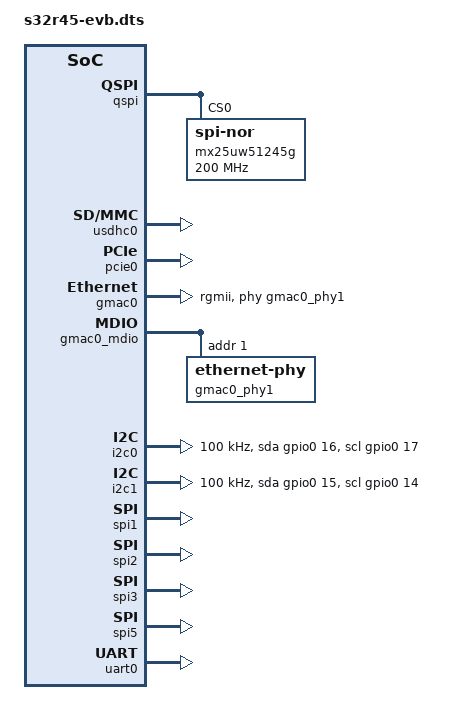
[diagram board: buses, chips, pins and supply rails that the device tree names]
// SPDX-License-Identifier: GPL-2.0+
/*
 * Copyright 2017-2022 NXP
 *
 * This program is free software; you can redistribute it and/or modify
 * it under the terms of the GNU General Public License as published by
 * the Free Software Foundation; either version 2 of the License, or
 * (at your option) any later version.
 */
#include <dt-bindings/clock/s32r45-scmi-clock.h>
#include <dt-bindings/gpio/gpio.h>
#include <dt-bindings/nvmem/s32cc-siul2-nvmem.h>
#include <dt-bindings/pinctrl/s32r45-pinctrl.h>

/dts-v1/;
#include "s32r45.dtsi"

&qspi {
	compatible = "nxp,s32r45-qspi", "nxp,s32cc-qspi";
	pinctrl-0 = <&pinctrl0_qspi>;
	pinctrl-names = "default";
	status = "okay";

	mx25uw51245g@0 {
		#address-cells = <1>;
		#size-cells = <1>;
		compatible = "jedec,spi-nor";
		spi-max-frequency = <200000000>;
		spi-tx-bus-width = <8>;
		spi-rx-bus-width = <8>;
		reg = <0>;
	};
};

&cmu {
	compatible = "nxp,s32r45-cmu";
};

&usdhc0 {
	pinctrl-0 = <&pinctrl0_sd0>;
	pinctrl-names = "default";
	no-1-8-v;
	status = "okay";
};

&pcie0 {
	status = "okay";

	link-speed = <3>; /* Gen3 */
};

&gmac0 {
	clocks = <&clks S32GEN1_SCMI_CLK_GMAC0_TS>,
		 <&clks S32GEN1_SCMI_CLK_GMAC0_RX_SGMII>,
		 <&clks S32GEN1_SCMI_CLK_GMAC0_TX_SGMII>,
		 <&clks S32GEN1_SCMI_CLK_GMAC0_RX_RGMII>,
		 <&clks S32GEN1_SCMI_CLK_GMAC0_TX_RGMII>,
		 <&clks S32GEN1_SCMI_CLK_GMAC0_AXI>;
	clock-names = "ts", "rx_sgmii", "tx_sgmii",
		      "rx_rgmii", "tx_rgmii", "axi";
	pinctrl-0 = <&pinctrl0_gmac0 &pinctrl0_gmac0_mdio>;
	pinctrl-1 = <&pinctrl0_gmac0_mdio>;
	pinctrl-names = "gmac_rgmii", "gmac_sgmii";
	status = "okay";
	phy-mode = "rgmii";
	phy-handle = <&gmac0_phy1>;
};

&gmac0_mdio {
	#address-cells = <1>;
	#size-cells = <0>;
	/* KSZ9031RNXCA on S32R-VNP-PROC */
	gmac0_phy1: ethernet-phy@1 {
		reg = <1>;
	};
};

/* J36 - PMIC */
&i2c0 {
	clock-frequency=<100000>;
	pinctrl-names = "default", "gpio";
	pinctrl-0 = <&pinctrl0_i2c0>;
	pinctrl-1 = <&pinctrl0_i2c0_gpio>;
	scl-gpios = <&gpio0 17 (GPIO_ACTIVE_HIGH | GPIO_OPEN_DRAIN)>;
	sda-gpios = <&gpio0 16 (GPIO_ACTIVE_HIGH | GPIO_OPEN_DRAIN)>;
	status = "okay";
};

/* J37 */
&i2c1 {
	clock-frequency=<100000>;
	pinctrl-names = "default", "gpio";
	pinctrl-0 = <&pinctrl0_i2c1 &pinctrl1_i2c1>;
	pinctrl-1 = <&pinctrl0_i2c1_gpio &pinctrl1_i2c1_gpio>;
	scl-gpios = <&gpio0 14 (GPIO_ACTIVE_HIGH | GPIO_OPEN_DRAIN)>;
	sda-gpios = <&gpio0 15 (GPIO_ACTIVE_HIGH | GPIO_OPEN_DRAIN)>;
	status = "okay";
};

&pinctrl0 {
	board_pinctrl0 {
		u-boot,dm-pre-reloc;
		pinctrl0_dspi1: pinctrl0_dspi1 {
			fsl,pins = <PB04_MSCR_S32R45 PB04_SPI1_SCK_CFG
				    PB05_MSCR_S32R45 PB05_SPI1_SIN_CFG
				    PB06_MSCR_S32R45 PB06_SPI1_SOUT_CFG
				    PB07_MSCR_S32R45 PB07_SPI1_CS0_CFG
				    PB08_MSCR_S32R45 PB08_SPI1_CS1_CFG
				    >;
		};

		pinctrl0_dspi2: pinctrl0_dspi2 {
			fsl,pins = <PB11_MSCR_S32R45 PB11_SPI2_SCK_CFG
				    PB13_MSCR_S32R45 PB13_SPI2_SOUT_CFG
				    PB14_MSCR_S32R45 PB14_SPI2_CS0_CFG
				    PB15_MSCR_S32R45 PB15_SPI2_CS1_CFG
				    PC01_MSCR_S32R45 PC01_SPI2_SIN_CFG
				    >;
		};

		pinctrl0_dspi3: pinctrl0_dspi3 {
			fsl,pins = <PC04_MSCR_S32R45 PC04_SPI3_SCK_CFG
				    PC06_MSCR_S32R45 PC06_SPI3_SIN_CFG
				    PC07_MSCR_S32R45 PC07_SPI3_CS0_CFG
				    PC08_MSCR_S32R45 PC08_SPI3_CS1_CFG
				    PC13_MSCR_S32R45 PC13_SPI3_SOUT_CFG
				    >;
		};

		pinctrl0_gmac0_mdio: pinctrl0_gmac0_mdio {
			fsl,pins = <PD12_MSCR_S32R45 PD12_GMAC0_MDC_CFG
				    PD13_MSCR_S32R45 PD13_GMAC0_MDIO_CFG
				    GMAC0_MDIO_IMCR PD13_GMAC0_MDIO_IN
				    >;
		};

		pinctrl0_gmac0: pinctrl0_gmac0 {
			fsl,pins = <PE02_MSCR_S32R45 PE02_GMAC0_TX_CLK_CFG
				    PE03_MSCR_S32R45 PE03_GMAC0_TX_EN_CFG
				    PE04_MSCR_S32R45 PE04_GMAC0_TX_D0_CFG
				    PE05_MSCR_S32R45 PE05_GMAC0_TX_D1_CFG
				    PE06_MSCR_S32R45 PE06_GMAC0_TX_D2_CFG
				    PE07_MSCR_S32R45 PE07_GMAC0_TX_D3_CFG
				    PE08_MSCR_S32R45 PE08_GMAC0_RX_CLK_CFG
				    PE09_MSCR_S32R45 PE09_GMAC0_RX_DV_CFG
				    PE10_MSCR_S32R45 PE10_GMAC0_RX_D0_CFG
				    PE11_MSCR_S32R45 PE11_GMAC0_RX_D1_CFG
				    PE12_MSCR_S32R45 PE12_GMAC0_RX_D2_CFG
				    PE13_MSCR_S32R45 PE13_GMAC0_RX_D3_CFG
				    GMAC0_TX_CLK_IMCR PE02_GMAC0_TX_CLK_IN
				    GMAC0_RX_CLK_IMCR PE08_GMAC0_RX_CLK_IN
				    GMAC0_RX_DV_IMCR PE09_GMAC0_RX_DV_IN
				    GMAC0_RX_D0_IMCR PE10_GMAC0_RX_D0_IN
				    GMAC0_RX_D1_IMCR PE11_GMAC0_RX_D1_IN
				    GMAC0_RX_D2_IMCR PE12_GMAC0_RX_D2_IN
				    GMAC0_RX_D3_IMCR PE13_GMAC0_RX_D3_IN
				    >;
		};

		pinctrl0_i2c0: pinctrl0_i2c0 {
			fsl,pins = <PB00_MSCR_S32R45 PB00_I2C0_SDA_CFG
				    PB01_MSCR_S32R45 PB01_I2C0_SCL_CFG
				    I2C0_SDA_IMCR PB00_I2C0_SDA_IN
				    I2C0_SCL_IMCR PB01_I2C0_SCL_IN
				    >;
		};

		pinctrl0_i2c0_gpio: pinctrl0_i2c0_gpio {
			fsl,pins = <PB00_MSCR_S32R45 PB00_I2C0_SDA_GPIO
				    PB01_MSCR_S32R45 PB01_I2C0_SCL_GPIO
				    I2C0_SDA_IMCR IMCR_DISABLED
				    I2C0_SCL_IMCR IMCR_DISABLED
				    >;
		};

		pinctrl0_i2c1: pinctrl0_i2c1 {
			fsl,pins = <PA14_MSCR_S32R45 PA14_I2C1_SCL_CFG
				    PA15_MSCR_S32R45 PA15_I2C1_SDA_CFG
				    >;
		};

		pinctrl0_i2c1_gpio: pinctrl0_i2c1_gpio {
			fsl,pins = <PA14_MSCR_S32R45 PA14_I2C1_SCL_GPIO
				    PA15_MSCR_S32R45 PA15_I2C1_SDA_GPIO
				    >;
		};

		pinctrl0_qspi: pinctrl0_qspi {
			fsl,pins = <PF05_MSCR_S32R45 PF05_QSPI_DATA_A0_CFG
				    PF06_MSCR_S32R45 PF06_QSPI_DATA_A1_CFG
				    PF07_MSCR_S32R45 PF07_QSPI_DATA_A2_CFG
				    PF08_MSCR_S32R45 PF08_QSPI_DATA_A3_CFG
				    PF09_MSCR_S32R45 PF09_QSPI_DATA_A4_CFG
				    PF10_MSCR_S32R45 PF10_QSPI_DATA_A5_CFG
				    PF11_MSCR_S32R45 PF11_QSPI_DATA_A6_CFG
				    PF12_MSCR_S32R45 PF12_QSPI_DATA_A7_CFG
				    PF13_MSCR_S32R45 PF13_QSPI_DQS_A_CFG
				    PG00_MSCR_S32R45 PG00_QSPI_CLK_A_CFG
				    PG01_MSCR_S32R45 PG01_QSPI_CLK_A_b_CFG
				    PG02_MSCR_S32R45 PG02_QSPI_CLK_2A_CFG
				    PG03_MSCR_S32R45 PG03_QSPI_CLK_2A_b_CFG
				    PG04_MSCR_S32R45 PG04_QSPI_CS_A0
				    PG05_MSCR_S32R45 PG05_QSPI_CS_A1
				    QSPI_DATA0_A_IMCR PF05_QSPI_DATA_A0_IN
				    QSPI_DATA1_A_IMCR PF06_QSPI_DATA_A1_IN
				    QSPI_DATA2_A_IMCR PF07_QSPI_DATA_A2_IN
				    QSPI_DATA3_A_IMCR PF08_QSPI_DATA_A3_IN
				    QSPI_DATA4_A_IMCR PF09_QSPI_DATA_A4_IN
				    QSPI_DATA5_A_IMCR PF10_QSPI_DATA_A5_IN
				    QSPI_DATA6_A_IMCR PF11_QSPI_DATA_A6_IN
				    QSPI_DATA7_A_IMCR PF12_QSPI_DATA_A7_IN
				    QSPI_DQS_A_IMCR PF13_DQS_A_IN
				    >;
		};

		pinctrl0_sd0: pinctrl0_sd0 {
			fsl,pins = <PC14_MSCR_S32R45 PC14_SD0_CLK_CFG
				    PC15_MSCR_S32R45 PC15_SD0_CMD_CFG
				    PD00_MSCR_S32R45 PD00_SD0_D0_CFG
				    PD01_MSCR_S32R45 PD01_SD0_D1_CFG
				    PD02_MSCR_S32R45 PD02_SD0_D2_CFG
				    PD03_MSCR_S32R45 PD03_SD0_D3_CFG
				    PD04_MSCR_S32R45 PD04_SD0_D4_CFG
				    PD05_MSCR_S32R45 PD05_SD0_D5_CFG
				    PD06_MSCR_S32R45 PD06_SD0_D6_CFG
				    PD07_MSCR_S32R45 PD07_SD0_D7_CFG
				    PD08_MSCR_S32R45 PD08_SD0_RST_CFG
				    PD09_MSCR_S32R45 PD09_SD0_VSELECT_CFG
				    SD0_CMD_IMCR PC15_SD0_CMD_IN
				    SD0_D0_IMCR PD00_SD0_D0_IN
				    SD0_D1_IMCR PD01_SD0_D1_IN
				    SD0_D2_IMCR PD02_SD0_D2_IN
				    SD0_D3_IMCR PD03_SD0_D3_IN
				    SD0_D4_IMCR PD04_SD0_D4_IN
				    SD0_D5_IMCR PD05_SD0_D5_IN
				    SD0_D6_IMCR PD06_SD0_D6_IN
				    SD0_D7_IMCR PD07_SD0_D7_IN
				    >;
		};

		pinctrl0_uart0: pinctrl0_uart0 {
			u-boot,dm-pre-reloc;
			fsl,pins = <PC09_MSCR_S32R45 PC09_LIN0_TX_CFG
				    PC10_MSCR_S32R45 PC10_LIN0_RX_CFG
				    LIN0_RX_IMCR PC10_LIN0_RX_IN>;
		};
	};
};

&pinctrl1 {
	board_pinctrl1 {
		pinctrl1_dspi1: pinctrl1_dspi1 {
			fsl,pins = <DSPI1_SIN_IMCR PB05_SPI1_SIN_IN
				    >;
		};

		pinctrl1_dspi2: pinctrl1_dspi2 {
			fsl,pins = <DSPI2_SIN_IMCR PC01_SPI2_SIN_IN
				    >;
		};

		pinctrl1_dspi3: pinctrl1_dspi3 {
			fsl,pins = <DSPI3_SIN_IMCR PC06_SPI3_SIN_IN
				    >;
		};

		pinctrl1_dspi5: pinctrl1_dspi5 {
			fsl,pins = <PK00_MSCR_S32R45 PK00_SPI5_SCK_CFG
				    PK03_MSCR_S32R45 PK03_SPI5_CS0_CFG
				    PK04_MSCR_S32R45 PK04_SPI5_SIN_CFG
				    PK05_MSCR_S32R45 PK05_SPI5_SOUT_CFG
				    DSPI5_SIN_IMCR PK04_SPI5_SIN_IN
				    >;
		};

		pinctrl1_i2c1: pinctrl1_i2c1 {
			fsl,pins = <I2C1_SCL_IMCR PA14_I2C1_SCL_IN
				    I2C1_SDA_IMCR PA15_I2C1_SDA_IN
				    >;
		};

		pinctrl1_i2c1_gpio: pinctrl1_i2c1_gpio {
			fsl,pins = <I2C1_SCL_IMCR IMCR_DISABLED
				    I2C1_SDA_IMCR IMCR_DISABLED
				    >;
		};
	};
};

&spi1 {
	pinctrl-names = "default";
	pinctrl-0 = <&pinctrl0_dspi1>, <&pinctrl1_dspi1>;
	status = "okay";
};

&spi2 {
	pinctrl-names = "default";
	pinctrl-0 = <&pinctrl0_dspi2>, <&pinctrl1_dspi2>;
	status = "okay";
};

&spi3 {
	pinctrl-names = "default";
	pinctrl-0 = <&pinctrl0_dspi3>, <&pinctrl1_dspi3>;
	status = "okay";
};

&spi5 {
	pinctrl-names = "default";
	pinctrl-0 =  <&pinctrl1_dspi5>;
	status = "okay";
};

&ocotp {
	compatible = "nxp,s32r45-ocotp";
};

&uart0 {
	pinctrl-0 = <&pinctrl0_uart0>;
	pinctrl-names = "default";
	status = "okay";
};
